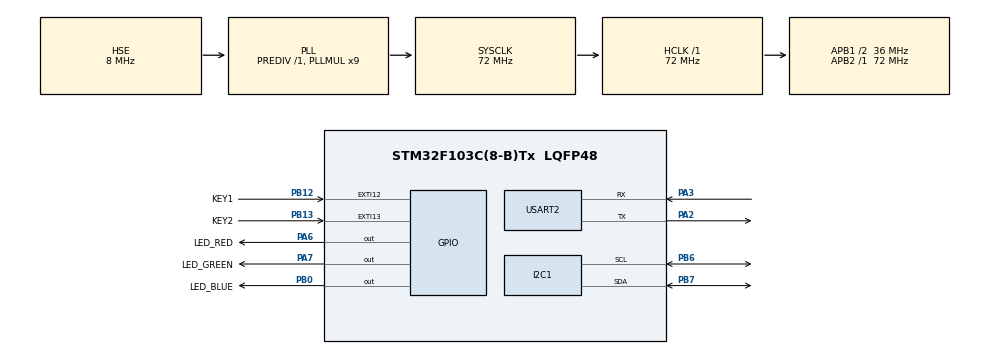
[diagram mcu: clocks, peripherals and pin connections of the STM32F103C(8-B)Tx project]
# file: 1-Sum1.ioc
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Dma.I2C1_RX.0.Direction=DMA_PERIPH_TO_MEMORY
Dma.I2C1_RX.0.Instance=DMA1_Channel7
Dma.I2C1_RX.0.MemDataAlignment=DMA_MDATAALIGN_BYTE
Dma.I2C1_RX.0.MemInc=DMA_MINC_ENABLE
Dma.I2C1_RX.0.Mode=DMA_NORMAL
Dma.I2C1_RX.0.PeriphDataAlignment=DMA_PDATAALIGN_BYTE
Dma.I2C1_RX.0.PeriphInc=DMA_PINC_DISABLE
Dma.I2C1_RX.0.Priority=DMA_PRIORITY_LOW
Dma.I2C1_TX.1.Direction=DMA_MEMORY_TO_PERIPH
Dma.I2C1_TX.1.Instance=DMA1_Channel6
Dma.I2C1_TX.1.MemDataAlignment=DMA_MDATAALIGN_BYTE
Dma.I2C1_TX.1.MemInc=DMA_MINC_ENABLE
Dma.I2C1_TX.1.Mode=DMA_NORMAL
Dma.I2C1_TX.1.PeriphDataAlignment=DMA_PDATAALIGN_BYTE
Dma.I2C1_TX.1.PeriphInc=DMA_PINC_DISABLE
Dma.I2C1_TX.1.Priority=DMA_PRIORITY_LOW
Dma.Request0=I2C1_RX
Dma.Request1=I2C1_TX
I2C1.I2C_Mode=I2C_Fast
Mcu.Family=STM32F1
Mcu.Name=STM32F103C(8-B)Tx
Mcu.Package=LQFP48
NVIC.DMA1_Channel6_IRQn=true\:0\:0\:false\:false\:true\:false\:true\:true
NVIC.DMA1_Channel7_IRQn=true\:0\:0\:false\:false\:true\:false\:true\:true
NVIC.EXTI15_10_IRQn=true\:0\:0\:false\:false\:true\:true\:true\:true
NVIC.I2C1_ER_IRQn=true\:0\:0\:false\:false\:true\:true\:true\:true
NVIC.I2C1_EV_IRQn=true\:0\:0\:false\:false\:true\:true\:true\:true
NVIC.PriorityGroup=NVIC_PRIORITYGROUP_4
NVIC.USART2_IRQn=true\:0\:0\:false\:false\:true\:true\:true\:true
PA13.Mode=Serial_Wire
PA13.Signal=SYS_JTMS-SWDIO
PA14.Mode=Serial_Wire
PA14.Signal=SYS_JTCK-SWCLK
PA2.Mode=Asynchronous
PA2.Signal=USART2_TX
PA3.Mode=Asynchronous
PA3.Signal=USART2_RX
PA6.GPIO_Label=LED_RED
PA6.Signal=GPIO_Output
PA7.GPIO_Label=LED_GREEN
PA7.Signal=GPIO_Output
PB0.GPIO_Label=LED_BLUE
PB0.Signal=GPIO_Output
PB12.GPIO_Label=KEY1
PB12.GPIO_ModeDefaultEXTI=GPIO_MODE_IT_FALLING
PB12.GPIO_PuPd=GPIO_PULLUP
PB12.Signal=GPXTI12
PB13.GPIO_Label=KEY2
PB13.GPIO_ModeDefaultEXTI=GPIO_MODE_IT_FALLING
PB13.GPIO_PuPd=GPIO_PULLUP
PB13.Signal=GPXTI13
PB6.Mode=I2C
PB6.Signal=I2C1_SCL
PB7.Mode=I2C
PB7.Signal=I2C1_SDA
PD0-OSC_IN.Mode=HSE-External-Oscillator
PD0-OSC_IN.Signal=RCC_OSC_IN
PD1-OSC_OUT.Mode=HSE-External-Oscillator
PD1-OSC_OUT.Signal=RCC_OSC_OUT
ProjectManager.HeapSize=0x200
ProjectManager.StackSize=0x400
ProjectManager.TargetToolchain=STM32CubeIDE
RCC.AHBFreq_Value=72000000
RCC.APB1CLKDivider=RCC_HCLK_DIV2
RCC.APB1Freq_Value=36000000
RCC.APB1TimFreq_Value=72000000
RCC.APB2Freq_Value=72000000
RCC.APB2TimFreq_Value=72000000
RCC.HCLKFreq_Value=72000000
RCC.PLLMUL=RCC_PLL_MUL9
RCC.PLLSourceVirtual=RCC_PLLSOURCE_HSE
RCC.SYSCLKFreq_VALUE=72000000
RCC.SYSCLKSource=RCC_SYSCLKSOURCE_PLLCLK
RCC.USBFreq_Value=72000000
USART2.VirtualMode=VM_ASYNC
board=custom

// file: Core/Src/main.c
/* USER CODE BEGIN Header */
/**
  ******************************************************************************
  * @file           : main.c
  * @brief          : Main program body
  ******************************************************************************
  * @attention
  *
  * Copyright (c) 2026 STMicroelectronics.
  * All rights reserved.
  *
  * This software is licensed under terms that can be found in the LICENSE file
  * in the root directory of this software component.
  * If no LICENSE file comes with this software, it is provided AS-IS.
  *
  ******************************************************************************
  */
/* USER CODE END Header */
#include "main.h"
#include "dma.h"
#include "i2c.h"
#include "usart.h"
#include "gpio.h"

/* USER CODE BEGIN Includes */
#include "OLED.h"
#include <stdio.h>
/* USER CODE END Includes */

/* USER CODE BEGIN PV */
uint8_t g_is_running = 1;
uint8_t g_direction = 0;
uint16_t g_step_ms = 300;
uint8_t g_current_led_idx = 0; // 0, 1, 2 (对应3个LED)
uint8_t g_last_led_idx = 0;
uint32_t g_tick_count = 0;
uint8_t g_uart_rx_buf[6];
uint8_t g_uart_tx_buf[64];

/* USER CODE END PV */

void SystemClock_Config(void);
/* USER CODE BEGIN PFP */
void Print_Status_To_UART(void);
void Sync_Status(void);
/* USER CODE END PFP */

int main(void)
{

  /* MCU Configuration--------------------------------------------------------*/

  /* Reset of all peripherals, Initializes the Flash interface and the Systick. */
  HAL_Init();

  /* Configure the system clock */
  SystemClock_Config();

  /* Initialize all configured peripherals */
  MX_GPIO_Init();
  MX_DMA_Init();
  MX_USART2_UART_Init();
  MX_I2C1_Init();
  /* USER CODE BEGIN 2 */
  OLED_Init(&hi2c1);
  OLED_Show_Status();
  HAL_UART_Transmit(&huart2, (uint8_t*)"HELLO\r\n", 7, 1000);  // 上电问候
  Print_Status_To_UART();

  // 开启串口中断接收，每次等待接收6个字节（完整指令包）
  HAL_UART_Receive_IT(&huart2, g_uart_rx_buf, 6);
  /* USER CODE END 2 */

  /* Infinite loop */
  /* USER CODE BEGIN WHILE */
  while (1)
  {       //流水灯的逻辑控制
    if (g_is_running && HAL_GetTick() - g_tick_count >= g_step_ms) {
      g_tick_count = HAL_GetTick();

      // Turn off last LED
      switch(g_last_led_idx) {
      case 0: HAL_GPIO_WritePin(GPIOA, GPIO_PIN_6, GPIO_PIN_RESET); break; // PA6 LED_BLUE
      case 1: HAL_GPIO_WritePin(GPIOA, GPIO_PIN_7, GPIO_PIN_RESET); break; // PA7
      case 2: HAL_GPIO_WritePin(GPIOB, GPIO_PIN_0, GPIO_PIN_RESET); break; // PB0
      }

      // Turn on current LED
      switch(g_current_led_idx) {
      case 0: HAL_GPIO_WritePin(GPIOA, GPIO_PIN_6, GPIO_PIN_SET); break;
      case 1: HAL_GPIO_WritePin(GPIOA, GPIO_PIN_7, GPIO_PIN_SET); break;
      case 2: HAL_GPIO_WritePin(GPIOB, GPIO_PIN_0, GPIO_PIN_SET); break;
      }

      g_last_led_idx = g_current_led_idx;

      // Update LED Index (正反转控制，注意是 % 3)
      if (g_direction == 0) {
        g_current_led_idx = (g_current_led_idx + 1) % 3;
      } else {
        g_current_led_idx = (g_current_led_idx - 1 + 3) % 3;
      }

      OLED_Show_Status();
      // Sync_Status();
    }
    /* USER CODE END WHILE */

  }
}

void SystemClock_Config(void)
{
  RCC_OscInitTypeDef RCC_OscInitStruct = {0};
  RCC_ClkInitTypeDef RCC_ClkInitStruct = {0};

  /** Initializes the RCC Oscillators according to the specified parameters
  * in the RCC_OscInitTypeDef structure.
  */
  RCC_OscInitStruct.OscillatorType = RCC_OSCILLATORTYPE_HSE;
  RCC_OscInitStruct.HSEState = RCC_HSE_ON;
  RCC_OscInitStruct.HSEPredivValue = RCC_HSE_PREDIV_DIV1;
  RCC_OscInitStruct.HSIState = RCC_HSI_ON;
  RCC_OscInitStruct.PLL.PLLState = RCC_PLL_ON;
  RCC_OscInitStruct.PLL.PLLSource = RCC_PLLSOURCE_HSE;
  RCC_OscInitStruct.PLL.PLLMUL = RCC_PLL_MUL9;
  if (HAL_RCC_OscConfig(&RCC_OscInitStruct) != HAL_OK)
  {
    Error_Handler();
  }

  /** Initializes the CPU, AHB and APB buses clocks
  */
  RCC_ClkInitStruct.ClockType = RCC_CLOCKTYPE_HCLK|RCC_CLOCKTYPE_SYSCLK
                              |RCC_CLOCKTYPE_PCLK1|RCC_CLOCKTYPE_PCLK2;
  RCC_ClkInitStruct.SYSCLKSource = RCC_SYSCLKSOURCE_PLLCLK;
  RCC_ClkInitStruct.AHBCLKDivider = RCC_SYSCLK_DIV1;
  RCC_ClkInitStruct.APB1CLKDivider = RCC_HCLK_DIV2;
  RCC_ClkInitStruct.APB2CLKDivider = RCC_HCLK_DIV1;

  if (HAL_RCC_ClockConfig(&RCC_ClkInitStruct, FLASH_LATENCY_2) != HAL_OK)
  {
    Error_Handler();
  }
}

/* USER CODE BEGIN 4 */

// // 串口接收回调函数：彻底适配你的指令格式
// void HAL_UART_RxCpltCallback(UART_HandleTypeDef *huart)
// {
//     if (huart->Instance == USART2)
//     {
//         // 1. 创建临时数组，专门用来重组数据帧
//         uint8_t corrected_buf[6] = {0};
//         corrected_buf[0] = g_uart_rx_buf[0]; // 帧头 AA
//         corrected_buf[1] = g_uart_rx_buf[1]; // 状态位
//         corrected_buf[2] = g_uart_rx_buf[2]; // 方向位
//         corrected_buf[3] = g_uart_rx_buf[4]; // 【把接收到的低位移到标准高位】
//         corrected_buf[4] = g_uart_rx_buf[3]; // 【把接收到的高位移到标准低位】
//         corrected_buf[5] = g_uart_rx_buf[5]; // 校验和
//
//         // 2. 对重组后的数据进行校验
//         uint8_t local_checksum = corrected_buf[0] + corrected_buf[1] + corrected_buf[2] + corrected_buf[3] + corrected_buf[4];
//
//         if (corrected_buf[5] == local_checksum)
//         {
//             // 3. 解析重组后的完美数据
//             g_is_running = corrected_buf[1];
//             g_direction  = corrected_buf[2];
//             // 现在 corrected_buf[3] 和 corrected_buf[4] 已经是标准的高低顺序了
//             g_step_ms    = ((uint16_t)corrected_buf[3] << 8) | corrected_buf[4];
//
//             // 更新屏幕显示，并发送回复指令
//             OLED_Show_Status();
//             Print_Status_To_UART();
//         }
//
//         // 重新开启接收中断
//         HAL_UART_Receive_IT(&huart2, g_uart_rx_buf, 6);
//     }
// }
//
// // 发送状态回复函数：标准的高低位发送
// // void Print_Status_To_UART(void) {
// //     uint8_t state_byte = g_is_running;
// //     uint8_t dir_byte = g_direction;
// //
// //     // 标准拆分
// //     uint8_t step_high = (uint8_t)(g_step_ms >> 8);
// //     uint8_t step_low = (uint8_t)(g_step_ms & 0xFF);
// //
// //     // 拼接前 5 个基础字节
// //     g_uart_tx_buf[0] = 0xAA;
// //     g_uart_tx_buf[1] = state_byte;
// //     g_uart_tx_buf[2] = dir_byte;
// //     g_uart_tx_buf[3] = step_high;  // 300ms的高位 0x01
// //     g_uart_tx_buf[4] = step_low;   // 300ms的低位 0x2C
// //
// //     // 计算校验和
// //     uint8_t checksum = g_uart_tx_buf[0] + g_uart_tx_buf[1] + g_uart_tx_buf[2] + g_uart_tx_buf[3] + g_uart_tx_buf[4];
// //     g_uart_tx_buf[5] = checksum;
// //
// //     // 发送 6 字节数据包
// //     HAL_UART_Transmit(&huart2, g_uart_tx_buf, 6, 1000);
// // }
//
// // ★修改：改为发送可读字符串，内容与OLED屏一致
// void Print_Status_To_UART(void) {
//   char *state_str = g_is_running ? "RUN" : "STOP";
//   char *dir_str   = (g_direction == 0) ? "FWD" : "REV";
//
//   // 拼接成和OLED显示一致的字符串
//   uint16_t len = sprintf((char*)g_uart_tx_buf,
//                          "STATE=%s,DIR=%s,STEP=%d,LED=%d\r\n",
//                          state_str, dir_str, g_step_ms, g_current_led_idx + 1);
//
//   // 发送字符串（长度用实际拼接出来的len）
//   HAL_UART_Transmit(&huart2, g_uart_tx_buf, len, 1000);
// }
// // 按键中断回调
// void HAL_GPIO_EXTI_Callback(uint16_t GPIO_Pin) {
//     if (GPIO_Pin == GPIO_PIN_12) { // KEY1
//         g_is_running = !g_is_running;
//         OLED_Show_Status();
//         Print_Status_To_UART();
//     } else if (GPIO_Pin == GPIO_PIN_13) { // KEY2
//         g_direction = !g_direction;
//         OLED_Show_Status();
//         Print_Status_To_UART();
//     }
// }

// 统一的"状态同步"函数，串口和OLED永远一起刷新
void Sync_Status(void)
{
  OLED_Show_Status();        // 刷新OLED
  Print_Status_To_UART();    // 串口回复可读字符串
}

// 串口接收回调：解析6字节指令
void HAL_UART_RxCpltCallback(UART_HandleTypeDef *huart)
{
  if (huart->Instance == USART2)
  {

    //   AA + 状态 + 方向 + 时间低 + 时间高
    uint8_t checksum = g_uart_rx_buf[0] + g_uart_rx_buf[1] +
                       g_uart_rx_buf[2] + g_uart_rx_buf[3] +
                       g_uart_rx_buf[4];

    // 校验通过
    if (g_uart_rx_buf[0] == 0xAA && g_uart_rx_buf[5] == checksum)
    {
      g_is_running = g_uart_rx_buf[1];              // 0=STOP, 1=RUN
      g_direction  = g_uart_rx_buf[2];              // 0=FWD, 1=REV

      // 时间按低字节在前解析
      //   收到 2C 01 → (0x01 << 8) | 0x2C = 300ms
      g_step_ms = ((uint16_t)g_uart_rx_buf[4] << 8) | g_uart_rx_buf[3];

      // OLED和串口同步更新
      Sync_Status();
    }

    HAL_UART_Receive_IT(&huart2, g_uart_rx_buf, 6);   // 重新挂接收
  }
}

// 发送可读字符串，内容与OLED完全一致
void Print_Status_To_UART(void)
{
  char *state_str = g_is_running ? "RUN" : "STOP";
  char *dir_str   = (g_direction == 0) ? "FWD" : "REV";

  uint16_t len = sprintf((char*)g_uart_tx_buf,
                         "STATE=%s,DIR=%s,STEP=%d,LED=%d\r\n",
                         state_str, dir_str, g_step_ms, g_current_led_idx + 1);

  HAL_UART_Transmit_IT(&huart2, g_uart_tx_buf, len);
}

// 按键回调：也走统一同步函数
void HAL_GPIO_EXTI_Callback(uint16_t GPIO_Pin)
{
  if (GPIO_Pin == GPIO_PIN_12) {        // KEY1 运行/暂停
    g_is_running = !g_is_running;
    Sync_Status();
  } else if (GPIO_Pin == GPIO_PIN_13) { // KEY2 正/反向
    g_direction = !g_direction;
    Sync_Status();
  }
}

/* USER CODE END 4 */

void Error_Handler(void)
{
  __disable_irq();
  while (1)
  {
  }
}
